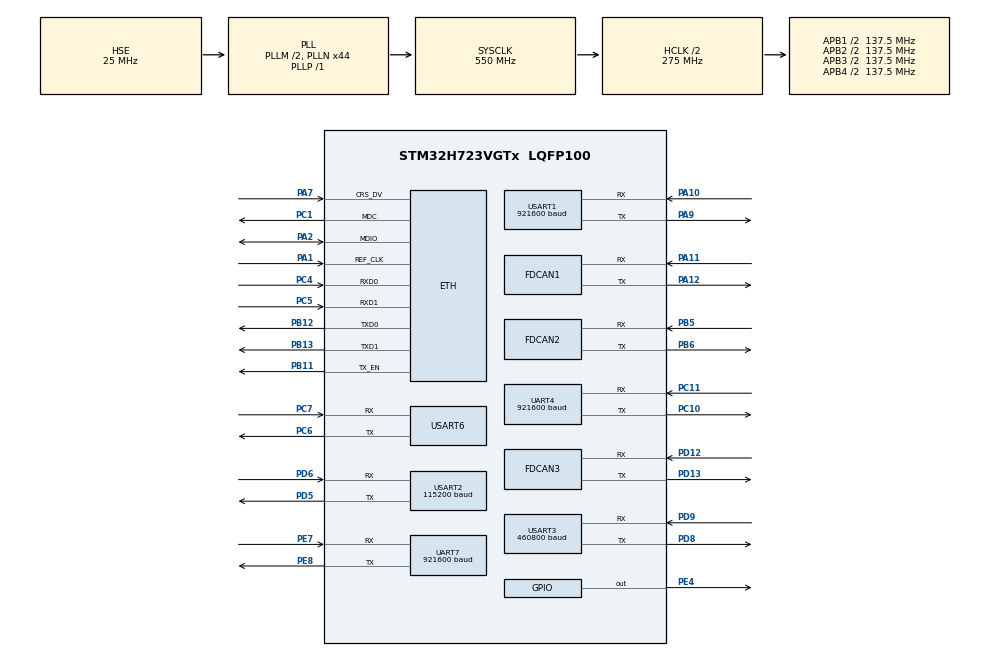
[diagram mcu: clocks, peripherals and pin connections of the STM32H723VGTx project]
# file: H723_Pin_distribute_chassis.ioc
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Dma.Request0=UART4_RX
Dma.Request1=UART4_TX
Dma.Request2=USART1_RX
Dma.Request3=USART1_TX
Dma.Request4=UART7_TX
Dma.Request5=USART3_RX
Dma.Request6=USART3_TX
Dma.Request7=USART2_TX
Dma.UART4_RX.0.Direction=DMA_PERIPH_TO_MEMORY
Dma.UART4_RX.0.EventEnable=DISABLE
Dma.UART4_RX.0.FIFOMode=DMA_FIFOMODE_DISABLE
Dma.UART4_RX.0.Instance=DMA1_Stream0
Dma.UART4_RX.0.MemDataAlignment=DMA_MDATAALIGN_BYTE
Dma.UART4_RX.0.MemInc=DMA_MINC_ENABLE
Dma.UART4_RX.0.Mode=DMA_NORMAL
Dma.UART4_RX.0.PeriphDataAlignment=DMA_PDATAALIGN_BYTE
Dma.UART4_RX.0.PeriphInc=DMA_PINC_DISABLE
Dma.UART4_RX.0.Polarity=HAL_DMAMUX_REQ_GEN_RISING
Dma.UART4_RX.0.Priority=DMA_PRIORITY_LOW
Dma.UART4_RX.0.RequestNumber=1
Dma.UART4_RX.0.SignalID=NONE
Dma.UART4_RX.0.SyncEnable=DISABLE
Dma.UART4_RX.0.SyncPolarity=HAL_DMAMUX_SYNC_NO_EVENT
Dma.UART4_RX.0.SyncRequestNumber=1
Dma.UART4_RX.0.SyncSignalID=NONE
Dma.UART4_TX.1.Direction=DMA_MEMORY_TO_PERIPH
Dma.UART4_TX.1.EventEnable=DISABLE
Dma.UART4_TX.1.FIFOMode=DMA_FIFOMODE_DISABLE
Dma.UART4_TX.1.Instance=DMA1_Stream1
Dma.UART4_TX.1.MemDataAlignment=DMA_MDATAALIGN_BYTE
Dma.UART4_TX.1.MemInc=DMA_MINC_ENABLE
Dma.UART4_TX.1.Mode=DMA_NORMAL
Dma.UART4_TX.1.PeriphDataAlignment=DMA_PDATAALIGN_BYTE
Dma.UART4_TX.1.PeriphInc=DMA_PINC_DISABLE
Dma.UART4_TX.1.Polarity=HAL_DMAMUX_REQ_GEN_RISING
Dma.UART4_TX.1.Priority=DMA_PRIORITY_LOW
Dma.UART4_TX.1.RequestNumber=1
Dma.UART4_TX.1.SignalID=NONE
Dma.UART4_TX.1.SyncEnable=DISABLE
Dma.UART4_TX.1.SyncPolarity=HAL_DMAMUX_SYNC_NO_EVENT
Dma.UART4_TX.1.SyncRequestNumber=1
Dma.UART4_TX.1.SyncSignalID=NONE
Dma.UART7_TX.4.Direction=DMA_MEMORY_TO_PERIPH
Dma.UART7_TX.4.EventEnable=DISABLE
Dma.UART7_TX.4.FIFOMode=DMA_FIFOMODE_DISABLE
Dma.UART7_TX.4.Instance=DMA1_Stream5
Dma.UART7_TX.4.MemDataAlignment=DMA_MDATAALIGN_BYTE
Dma.UART7_TX.4.MemInc=DMA_MINC_ENABLE
Dma.UART7_TX.4.Mode=DMA_NORMAL
Dma.UART7_TX.4.PeriphDataAlignment=DMA_PDATAALIGN_BYTE
Dma.UART7_TX.4.PeriphInc=DMA_PINC_DISABLE
Dma.UART7_TX.4.Polarity=HAL_DMAMUX_REQ_GEN_RISING
Dma.UART7_TX.4.Priority=DMA_PRIORITY_LOW
Dma.UART7_TX.4.RequestNumber=1
Dma.UART7_TX.4.SignalID=NONE
Dma.UART7_TX.4.SyncEnable=DISABLE
Dma.UART7_TX.4.SyncPolarity=HAL_DMAMUX_SYNC_NO_EVENT
Dma.UART7_TX.4.SyncRequestNumber=1
Dma.UART7_TX.4.SyncSignalID=NONE
Dma.USART1_RX.2.Direction=DMA_PERIPH_TO_MEMORY
Dma.USART1_RX.2.EventEnable=DISABLE
Dma.USART1_RX.2.FIFOMode=DMA_FIFOMODE_DISABLE
Dma.USART1_RX.2.Instance=DMA1_Stream2
Dma.USART1_RX.2.MemDataAlignment=DMA_MDATAALIGN_BYTE
Dma.USART1_RX.2.MemInc=DMA_MINC_ENABLE
Dma.USART1_RX.2.Mode=DMA_NORMAL
Dma.USART1_RX.2.PeriphDataAlignment=DMA_PDATAALIGN_BYTE
Dma.USART1_RX.2.PeriphInc=DMA_PINC_DISABLE
Dma.USART1_RX.2.Polarity=HAL_DMAMUX_REQ_GEN_RISING
Dma.USART1_RX.2.Priority=DMA_PRIORITY_LOW
Dma.USART1_RX.2.RequestNumber=1
Dma.USART1_RX.2.SignalID=NONE
Dma.USART1_RX.2.SyncEnable=DISABLE
Dma.USART1_RX.2.SyncPolarity=HAL_DMAMUX_SYNC_NO_EVENT
Dma.USART1_RX.2.SyncRequestNumber=1
Dma.USART1_RX.2.SyncSignalID=NONE
Dma.USART1_TX.3.Direction=DMA_MEMORY_TO_PERIPH
Dma.USART1_TX.3.EventEnable=DISABLE
Dma.USART1_TX.3.FIFOMode=DMA_FIFOMODE_DISABLE
Dma.USART1_TX.3.Instance=DMA1_Stream3
Dma.USART1_TX.3.MemDataAlignment=DMA_MDATAALIGN_BYTE
Dma.USART1_TX.3.MemInc=DMA_MINC_ENABLE
Dma.USART1_TX.3.Mode=DMA_NORMAL
Dma.USART1_TX.3.PeriphDataAlignment=DMA_PDATAALIGN_BYTE
Dma.USART1_TX.3.PeriphInc=DMA_PINC_DISABLE
Dma.USART1_TX.3.Polarity=HAL_DMAMUX_REQ_GEN_RISING
Dma.USART1_TX.3.Priority=DMA_PRIORITY_LOW
Dma.USART1_TX.3.RequestNumber=1
Dma.USART1_TX.3.SignalID=NONE
Dma.USART1_TX.3.SyncEnable=DISABLE
Dma.USART1_TX.3.SyncPolarity=HAL_DMAMUX_SYNC_NO_EVENT
Dma.USART1_TX.3.SyncRequestNumber=1
Dma.USART1_TX.3.SyncSignalID=NONE
Dma.USART2_TX.7.Direction=DMA_MEMORY_TO_PERIPH
Dma.USART2_TX.7.EventEnable=DISABLE
Dma.USART2_TX.7.FIFOMode=DMA_FIFOMODE_DISABLE
Dma.USART2_TX.7.Instance=DMA1_Stream7
Dma.USART2_TX.7.MemDataAlignment=DMA_MDATAALIGN_BYTE
Dma.USART2_TX.7.MemInc=DMA_MINC_ENABLE
Dma.USART2_TX.7.Mode=DMA_NORMAL
Dma.USART2_TX.7.PeriphDataAlignment=DMA_PDATAALIGN_BYTE
Dma.USART2_TX.7.PeriphInc=DMA_PINC_DISABLE
Dma.USART2_TX.7.Polarity=HAL_DMAMUX_REQ_GEN_RISING
Dma.USART2_TX.7.Priority=DMA_PRIORITY_LOW
Dma.USART2_TX.7.RequestNumber=1
Dma.USART2_TX.7.SignalID=NONE
Dma.USART2_TX.7.SyncEnable=DISABLE
Dma.USART2_TX.7.SyncPolarity=HAL_DMAMUX_SYNC_NO_EVENT
Dma.USART2_TX.7.SyncRequestNumber=1
Dma.USART2_TX.7.SyncSignalID=NONE
Dma.USART3_RX.5.Direction=DMA_PERIPH_TO_MEMORY
Dma.USART3_RX.5.EventEnable=DISABLE
Dma.USART3_RX.5.FIFOMode=DMA_FIFOMODE_DISABLE
Dma.USART3_RX.5.Instance=DMA1_Stream4
Dma.USART3_RX.5.MemDataAlignment=DMA_MDATAALIGN_BYTE
Dma.USART3_RX.5.MemInc=DMA_MINC_ENABLE
Dma.USART3_RX.5.Mode=DMA_NORMAL
Dma.USART3_RX.5.PeriphDataAlignment=DMA_PDATAALIGN_BYTE
Dma.USART3_RX.5.PeriphInc=DMA_PINC_DISABLE
Dma.USART3_RX.5.Polarity=HAL_DMAMUX_REQ_GEN_RISING
Dma.USART3_RX.5.Priority=DMA_PRIORITY_LOW
Dma.USART3_RX.5.RequestNumber=1
Dma.USART3_RX.5.SignalID=NONE
Dma.USART3_RX.5.SyncEnable=DISABLE
Dma.USART3_RX.5.SyncPolarity=HAL_DMAMUX_SYNC_NO_EVENT
Dma.USART3_RX.5.SyncRequestNumber=1
Dma.USART3_RX.5.SyncSignalID=NONE
Dma.USART3_TX.6.Direction=DMA_MEMORY_TO_PERIPH
Dma.USART3_TX.6.EventEnable=DISABLE
Dma.USART3_TX.6.FIFOMode=DMA_FIFOMODE_DISABLE
Dma.USART3_TX.6.Instance=DMA1_Stream6
Dma.USART3_TX.6.MemDataAlignment=DMA_MDATAALIGN_BYTE
Dma.USART3_TX.6.MemInc=DMA_MINC_ENABLE
Dma.USART3_TX.6.Mode=DMA_NORMAL
Dma.USART3_TX.6.PeriphDataAlignment=DMA_PDATAALIGN_BYTE
Dma.USART3_TX.6.PeriphInc=DMA_PINC_DISABLE
Dma.USART3_TX.6.Polarity=HAL_DMAMUX_REQ_GEN_RISING
Dma.USART3_TX.6.Priority=DMA_PRIORITY_LOW
Dma.USART3_TX.6.RequestNumber=1
Dma.USART3_TX.6.SignalID=NONE
Dma.USART3_TX.6.SyncEnable=DISABLE
Dma.USART3_TX.6.SyncPolarity=HAL_DMAMUX_SYNC_NO_EVENT
Dma.USART3_TX.6.SyncRequestNumber=1
Dma.USART3_TX.6.SyncSignalID=NONE
ETH.MediaInterface=HAL_ETH_RMII_MODE
FDCAN1.AutoRetransmission=ENABLE
FDCAN1.CalculateBaudRateNominal=1000000
FDCAN1.CalculateTimeBitNominal=1000
FDCAN1.CalculateTimeQuantumNominal=40.0
FDCAN1.DataPrescaler=1
FDCAN1.DataSyncJumpWidth=6
FDCAN1.DataTimeSeg1=18
FDCAN1.DataTimeSeg2=6
FDCAN1.Mode=FDCAN_MODE_NORMAL
FDCAN1.NominalPrescaler=1
FDCAN1.NominalSyncJumpWidth=6
FDCAN1.NominalTimeSeg1=18
FDCAN1.NominalTimeSeg2=6
FDCAN1.RxFifo0ElmtsNbr=4
FDCAN1.StdFiltersNbr=1
FDCAN1.TxBuffersNbr=16
FDCAN1.TxFifoQueueElmtsNbr=16
FDCAN2.AutoRetransmission=ENABLE
FDCAN2.CalculateBaudRateNominal=1000000
FDCAN2.CalculateTimeBitNominal=1000
FDCAN2.CalculateTimeQuantumNominal=40.0
FDCAN2.DataSyncJumpWidth=6
FDCAN2.DataTimeSeg1=18
FDCAN2.DataTimeSeg2=6
FDCAN2.MessageRAMOffset=800
FDCAN2.Mode=FDCAN_MODE_NORMAL
FDCAN2.NominalPrescaler=1
FDCAN2.NominalSyncJumpWidth=6
FDCAN2.NominalTimeSeg1=18
FDCAN2.NominalTimeSeg2=6
FDCAN2.RxFifo0ElmtsNbr=4
FDCAN2.StdFiltersNbr=1
FDCAN2.TxBuffersNbr=16
FDCAN2.TxFifoQueueElmtsNbr=16
FDCAN3.AutoRetransmission=ENABLE
FDCAN3.CalculateBaudRateNominal=1000000
FDCAN3.CalculateTimeBitNominal=1000
FDCAN3.CalculateTimeQuantumNominal=40.0
FDCAN3.DataSyncJumpWidth=6
FDCAN3.DataTimeSeg1=18
FDCAN3.DataTimeSeg2=6
FDCAN3.MessageRAMOffset=1600
FDCAN3.Mode=FDCAN_MODE_NORMAL
FDCAN3.NominalPrescaler=1
FDCAN3.NominalSyncJumpWidth=6
FDCAN3.NominalTimeSeg1=18
FDCAN3.NominalTimeSeg2=6
FDCAN3.RxFifo0ElmtsNbr=4
FDCAN3.StdFiltersNbr=1
FDCAN3.TxBuffersNbr=16
FDCAN3.TxFifoQueueElmtsNbr=16
FREERTOS.Queues01=Gyro_Queue,16,uint32_t,0,Dynamic,NULL,NULL
FREERTOS.Tasks01=location_task,24,512,LocationTask,Default,NULL,Dynamic,NULL,NULL;nav_task,24,4096,NavTask,Default,NULL,Dynamic,NULL,NULL;chassis_task,24,512,ChassisTask,Default,NULL,Dynamic,NULL,NULL;send_task,24,512,SendTask,Default,NULL,Dynamic,NULL,NULL;action_task,24,512,ActionTask,Default,NULL,Dynamic,NULL,NULL
FREERTOS.configTOTAL_HEAP_SIZE=65536
Mcu.Family=STM32H7
Mcu.Name=STM32H723VGTx
Mcu.Package=LQFP100
NVIC.DMA1_Stream0_IRQn=true\:5\:0\:false\:false\:true\:true\:false\:true\:true
NVIC.DMA1_Stream1_IRQn=true\:5\:0\:false\:false\:true\:true\:false\:true\:true
NVIC.DMA1_Stream2_IRQn=true\:5\:0\:false\:false\:true\:true\:false\:true\:true
NVIC.DMA1_Stream3_IRQn=true\:5\:0\:false\:false\:true\:true\:false\:true\:true
NVIC.DMA1_Stream4_IRQn=true\:5\:0\:false\:false\:true\:true\:false\:true\:true
NVIC.DMA1_Stream5_IRQn=true\:5\:0\:false\:false\:true\:true\:false\:true\:true
NVIC.DMA1_Stream6_IRQn=true\:5\:0\:false\:false\:true\:true\:false\:true\:true
NVIC.DMA1_Stream7_IRQn=true\:5\:0\:false\:false\:true\:true\:false\:true\:true
NVIC.FDCAN1_IT0_IRQn=true\:5\:0\:false\:false\:true\:true\:true\:true\:true
NVIC.FDCAN2_IT0_IRQn=true\:5\:0\:false\:false\:true\:true\:true\:true\:true
NVIC.FDCAN3_IT0_IRQn=true\:5\:0\:false\:false\:true\:true\:true\:true\:true
NVIC.PriorityGroup=NVIC_PRIORITYGROUP_4
NVIC.TIM6_DAC_IRQn=true\:15\:0\:false\:false\:true\:false\:false\:true\:true
NVIC.TimeBase=TIM6_DAC_IRQn
NVIC.TimeBaseIP=TIM6
NVIC.UART4_IRQn=true\:5\:0\:false\:false\:true\:true\:true\:true\:true
NVIC.UART7_IRQn=true\:5\:0\:false\:false\:true\:true\:true\:true\:true
NVIC.USART1_IRQn=true\:5\:0\:false\:false\:true\:true\:true\:true\:true
NVIC.USART2_IRQn=true\:5\:0\:false\:false\:true\:true\:true\:true\:true
NVIC.USART3_IRQn=true\:5\:0\:false\:false\:true\:true\:true\:true\:true
NVIC.USART6_IRQn=true\:5\:0\:false\:false\:true\:true\:true\:true\:true
PA1.Mode=RMII
PA1.Signal=ETH_REF_CLK
PA10.Mode=Asynchronous
PA10.Signal=USART1_RX
PA11.Mode=FDCAN_Activate
PA11.Signal=FDCAN1_RX
PA12.Mode=FDCAN_Activate
PA12.Signal=FDCAN1_TX
PA13(JTMS/SWDIO).Mode=Serial_Wire
PA13(JTMS/SWDIO).Signal=DEBUG_JTMS-SWDIO
PA14(JTCK/SWCLK).Mode=Serial_Wire
PA14(JTCK/SWCLK).Signal=DEBUG_JTCK-SWCLK
PA2.Mode=RMII
PA2.Signal=ETH_MDIO
PA3.Signal=S_TIM2_CH4
PA5.Signal=S_TIM2_CH1_ETR
PA7.Mode=RMII
PA7.Signal=ETH_CRS_DV
PA9.Mode=Asynchronous
PA9.Signal=USART1_TX
PB11.Mode=RMII
PB11.Signal=ETH_TX_EN
PB12.Mode=RMII
PB12.Signal=ETH_TXD0
PB13.Mode=RMII
PB13.Signal=ETH_TXD1
PB5.Mode=FDCAN_Activate
PB5.Signal=FDCAN2_RX
PB6.Mode=FDCAN_Activate
PB6.Signal=FDCAN2_TX
PC1.Mode=RMII
PC1.Signal=ETH_MDC
PC10.Mode=Asynchronous
PC10.Signal=UART4_TX
PC11.Mode=Asynchronous
PC11.Signal=UART4_RX
PC4.Mode=RMII
PC4.Signal=ETH_RXD0
PC5.Mode=RMII
PC5.Signal=ETH_RXD1
PC6.Mode=Asynchronous
PC6.Signal=USART6_TX
PC7.Mode=Asynchronous
PC7.Signal=USART6_RX
PD12.Mode=FDCAN_Activate
PD12.Signal=FDCAN3_RX
PD13.Mode=FDCAN_Activate
PD13.Signal=FDCAN3_TX
PD5.Mode=Asynchronous
PD5.Signal=USART2_TX
PD6.Mode=Asynchronous
PD6.Signal=USART2_RX
PD8.Mode=Asynchronous
PD8.Signal=USART3_TX
PD9.Mode=Asynchronous
PD9.Signal=USART3_RX
PE11.Signal=S_TIM1_CH2
PE13.Signal=S_TIM1_CH3
PE4.Signal=GPIO_Output
PE7.Mode=Asynchronous
PE7.Signal=UART7_RX
PE8.Mode=Asynchronous
PE8.Signal=UART7_TX
PH0-OSC_IN.Mode=HSE-External-Oscillator
PH0-OSC_IN.Signal=RCC_OSC_IN
PH1-OSC_OUT.Mode=HSE-External-Oscillator
PH1-OSC_OUT.Signal=RCC_OSC_OUT
ProjectManager.HeapSize=0x200
ProjectManager.StackSize=0x400
ProjectManager.TargetToolchain=MDK-ARM V5.32
RCC.ADCFreq_Value=50390625
RCC.APB1Freq_Value=137500000
RCC.APB2Freq_Value=137500000
RCC.APB3Freq_Value=137500000
RCC.APB4Freq_Value=137500000
RCC.CortexFreq_Value=550000000
RCC.D1PPRE=RCC_APB3_DIV2
RCC.D2PPRE1=RCC_APB1_DIV2
RCC.D2PPRE2=RCC_APB2_DIV2
RCC.D3PPRE=RCC_APB4_DIV2
RCC.DIVM1=2
RCC.DIVN1=44
RCC.DIVP1=1
RCC.DIVQ1=4
RCC.FDCANCLockSelection=RCC_FDCANCLKSOURCE_HSE
RCC.HCLKFreq_Value=275000000
RCC.HPRE=RCC_HCLK_DIV2
RCC.PLL2FRACN=0
RCC.PLL3FRACN=0
RCC.PLLFRACN=0
RCC.PLLSourceVirtual=RCC_PLLSOURCE_HSE
RCC.SYSCLKFreq_VALUE=550000000
RCC.SYSCLKSource=RCC_SYSCLKSOURCE_PLLCLK
RCC.USBFreq_Value=137500000
SH.S_TIM1_CH2.0=TIM1_CH2
SH.S_TIM1_CH3.0=TIM1_CH3
SH.S_TIM2_CH1_ETR.0=TIM2_CH1
SH.S_TIM2_CH4.0=TIM2_CH4
UART4.BaudRate=921600
UART7.BaudRate=921600
USART1.BaudRate=921600
USART1.VirtualMode-Asynchronous=VM_ASYNC
USART2.BaudRate=115200
USART2.VirtualMode-Asynchronous=VM_ASYNC
USART3.BaudRate=460800
USART3.VirtualMode-Asynchronous=VM_ASYNC
USART6.VirtualMode=VM_ASYNC
VP_FREERTOS_VS_CMSIS_V2.Mode=CMSIS_V2
VP_MEMORYMAP_VS_MEMORYMAP.Mode=CurAppReg
VP_SYS_VS_tim6.Mode=TIM6
board=custom

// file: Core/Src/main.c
/* USER CODE BEGIN Header */
/**
  ******************************************************************************
  * @file           : main.c
  * @brief          : Main program body
  ******************************************************************************
  * @attention
  *
  * Copyright (c) 2026 STMicroelectronics.
  * All rights reserved.
  *
  * This software is licensed under terms that can be found in the LICENSE file
  * in the root directory of this software component.
  * If no LICENSE file comes with this software, it is provided AS-IS.
  *
  ******************************************************************************
  */
/* USER CODE END Header */
#include "main.h"
#include "cmsis_os.h"
#include "dma.h"
#include "eth.h"
#include "fdcan.h"
#include "usart.h"
#include "gpio.h"

void SystemClock_Config(void);
void MX_FREERTOS_Init(void);

int main(void)
{

  /* MCU Configuration--------------------------------------------------------*/

  /* Reset of all peripherals, Initializes the Flash interface and the Systick. */
  HAL_Init();

  /* Configure the system clock */
  SystemClock_Config();

  /* Initialize all configured peripherals */
  MX_GPIO_Init();
  MX_DMA_Init();
  MX_ETH_Init();
  MX_FDCAN1_Init();
  MX_FDCAN2_Init();
  MX_FDCAN3_Init();
  MX_UART4_Init();
  MX_USART1_UART_Init();
  MX_USART2_UART_Init();
  MX_USART3_UART_Init();
  MX_USART6_UART_Init();
  MX_UART7_Init();
  /* USER CODE BEGIN 2 */
  HAL_Delay(600);
  BSP_Init();
  /* USER CODE END 2 */

  /* Init scheduler */
  osKernelInitialize();  /* Call init function for freertos objects (in cmsis_os2.c) */
  MX_FREERTOS_Init();

  /* Start scheduler */
  osKernelStart();

  /* We should never get here as control is now taken by the scheduler */

  /* Infinite loop */
  while (1)
  {

  }
}

void SystemClock_Config(void)
{
  RCC_OscInitTypeDef RCC_OscInitStruct = {0};
  RCC_ClkInitTypeDef RCC_ClkInitStruct = {0};

  /** Supply configuration update enable
  */
  HAL_PWREx_ConfigSupply(PWR_LDO_SUPPLY);

  /** Configure the main internal regulator output voltage
  */
  __HAL_PWR_VOLTAGESCALING_CONFIG(PWR_REGULATOR_VOLTAGE_SCALE0);

  while(!__HAL_PWR_GET_FLAG(PWR_FLAG_VOSRDY)) {}

  /** Initializes the RCC Oscillators according to the specified parameters
  * in the RCC_OscInitTypeDef structure.
  */
  RCC_OscInitStruct.OscillatorType = RCC_OSCILLATORTYPE_HSE;
  RCC_OscInitStruct.HSEState = RCC_HSE_ON;
  RCC_OscInitStruct.PLL.PLLState = RCC_PLL_ON;
  RCC_OscInitStruct.PLL.PLLSource = RCC_PLLSOURCE_HSE;
  RCC_OscInitStruct.PLL.PLLM = 2;
  RCC_OscInitStruct.PLL.PLLN = 44;
  RCC_OscInitStruct.PLL.PLLP = 1;
  RCC_OscInitStruct.PLL.PLLQ = 4;
  RCC_OscInitStruct.PLL.PLLR = 2;
  RCC_OscInitStruct.PLL.PLLRGE = RCC_PLL1VCIRANGE_3;
  RCC_OscInitStruct.PLL.PLLVCOSEL = RCC_PLL1VCOWIDE;
  RCC_OscInitStruct.PLL.PLLFRACN = 0;
  if (HAL_RCC_OscConfig(&RCC_OscInitStruct) != HAL_OK)
  {
    Error_Handler();
  }

  /** Initializes the CPU, AHB and APB buses clocks
  */
  RCC_ClkInitStruct.ClockType = RCC_CLOCKTYPE_HCLK|RCC_CLOCKTYPE_SYSCLK
                              |RCC_CLOCKTYPE_PCLK1|RCC_CLOCKTYPE_PCLK2
                              |RCC_CLOCKTYPE_D3PCLK1|RCC_CLOCKTYPE_D1PCLK1;
  RCC_ClkInitStruct.SYSCLKSource = RCC_SYSCLKSOURCE_PLLCLK;
  RCC_ClkInitStruct.SYSCLKDivider = RCC_SYSCLK_DIV1;
  RCC_ClkInitStruct.AHBCLKDivider = RCC_HCLK_DIV2;
  RCC_ClkInitStruct.APB3CLKDivider = RCC_APB3_DIV2;
  RCC_ClkInitStruct.APB1CLKDivider = RCC_APB1_DIV2;
  RCC_ClkInitStruct.APB2CLKDivider = RCC_APB2_DIV2;
  RCC_ClkInitStruct.APB4CLKDivider = RCC_APB4_DIV2;

  if (HAL_RCC_ClockConfig(&RCC_ClkInitStruct, FLASH_LATENCY_3) != HAL_OK)
  {
    Error_Handler();
  }
}

void HAL_TIM_PeriodElapsedCallback(TIM_HandleTypeDef *htim)
{
  /* USER CODE BEGIN Callback 0 */
  if(htim->Instance == TIM6){
    if(HAL_GetTick() % 1000 == 0){
      System_Monitor(&sys_mnt);
    }
  }
  /* USER CODE END Callback 0 */
  if (htim->Instance == TIM6)
  {
    HAL_IncTick();
  }
}

void Error_Handler(void)
{
  __disable_irq();
  while (1)
  {
  }
}

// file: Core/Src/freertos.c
/* USER CODE BEGIN Header */
/**
  ******************************************************************************
  * File Name          : freertos.c
  * Description        : Code for freertos applications
  ******************************************************************************
  * @attention
  *
  * Copyright (c) 2026 STMicroelectronics.
  * All rights reserved.
  *
  * This software is licensed under terms that can be found in the LICENSE file
  * in the root directory of this software component.
  * If no LICENSE file comes with this software, it is provided AS-IS.
  *
  ******************************************************************************
  */
/* USER CODE END Header */

#include "FreeRTOS.h"
#include "task.h"
#include "main.h"
#include "cmsis_os.h"

/* Definitions for location_task */
osThreadId_t location_taskHandle;
const osThreadAttr_t location_task_attributes = {
  .name = "location_task",
  .stack_size = 512 * 4,
  .priority = (osPriority_t) osPriorityNormal,
};
/* Definitions for nav_task */
osThreadId_t nav_taskHandle;
const osThreadAttr_t nav_task_attributes = {
  .name = "nav_task",
  .stack_size = 4096 * 4,
  .priority = (osPriority_t) osPriorityNormal,
};
/* Definitions for chassis_task */
osThreadId_t chassis_taskHandle;
const osThreadAttr_t chassis_task_attributes = {
  .name = "chassis_task",
  .stack_size = 512 * 4,
  .priority = (osPriority_t) osPriorityNormal,
};
/* Definitions for send_task */
osThreadId_t send_taskHandle;
const osThreadAttr_t send_task_attributes = {
  .name = "send_task",
  .stack_size = 512 * 4,
  .priority = (osPriority_t) osPriorityNormal,
};
/* Definitions for action_task */
osThreadId_t action_taskHandle;
const osThreadAttr_t action_task_attributes = {
  .name = "action_task",
  .stack_size = 512 * 4,
  .priority = (osPriority_t) osPriorityNormal,
};
/* Definitions for Gyro_Queue */
osMessageQueueId_t Gyro_QueueHandle;
const osMessageQueueAttr_t Gyro_Queue_attributes = {
  .name = "Gyro_Queue"
};

void LocationTask(void *argument);
void NavTask(void *argument);
void ChassisTask(void *argument);
void SendTask(void *argument);
void ActionTask(void *argument);

void MX_FREERTOS_Init(void); /* (MISRA C 2004 rule 8.1) */

void MX_FREERTOS_Init(void) {

  /* Create the queue(s) */
  /* creation of Gyro_Queue */
  Gyro_QueueHandle = osMessageQueueNew (16, sizeof(uint32_t), &Gyro_Queue_attributes);

  /* Create the thread(s) */
  /* creation of location_task */
  location_taskHandle = osThreadNew(LocationTask, NULL, &location_task_attributes);

  /* creation of nav_task */
  nav_taskHandle = osThreadNew(NavTask, NULL, &nav_task_attributes);

  /* creation of chassis_task */
  chassis_taskHandle = osThreadNew(ChassisTask, NULL, &chassis_task_attributes);

  /* creation of send_task */
  send_taskHandle = osThreadNew(SendTask, NULL, &send_task_attributes);

  /* creation of action_task */
  action_taskHandle = osThreadNew(ActionTask, NULL, &action_task_attributes);

}

void LocationTask(void *argument)
{
  /* USER CODE BEGIN LocationTask */
  /* Infinite loop */
  for(;;)
  {
    Location_dt35_vision();
		sys_mnt.cnt.location_task++;
    osDelay(1);
  }
  /* USER CODE END LocationTask */
}

void NavTask(void *argument)
{
  /* USER CODE BEGIN NavTask */
  /* Infinite loop */
  for(;;)
  {
    Nav_Run();
		sys_mnt.cnt.navigation_task++;
    osDelay(1);
  }
  /* USER CODE END NavTask */
}

void ChassisTask(void *argument)
{
  /* USER CODE BEGIN ChassisTask */
  /* Infinite loop */
  for(;;)
  {
    Chassis_Run();
		sys_mnt.cnt.chassis_task++;
    osDelay(1);
  }
  /* USER CODE END ChassisTask */
}

void SendTask(void *argument)
{
  /* USER CODE BEGIN SendTask */
  /* Infinite loop */
  for(;;)
  {
    if(V6_SendData(&hfdcan1,0x200, Chassis.wheels.rightup.driver_output, Chassis.wheels.rightdown.driver_output, Chassis.wheels.rightup.steer_output, Chassis.wheels.rightdown.steer_output) == HAL_OK){
      sys_mnt.cnt.can1_v6_tx++;
    }
    if(V6_SendData(&hfdcan2,0x200, Chassis.wheels.leftup.driver_output, Chassis.wheels.leftdown.driver_output, Chassis.wheels.leftup.steer_output, Chassis.wheels.leftdown.steer_output) == HAL_OK){
      sys_mnt.cnt.can2_v6_tx++;
    }
		sys_mnt.cnt.send_task++;
    osDelay(1);
  }
  /* USER CODE END SendTask */
}

void ActionTask(void *argument)
{
  /* USER CODE BEGIN ActionTask */
	uint16_t trt_cnt = 0;
  /* Infinite loop */
  for(;;)
  {
    Send_to_Upper();
		Send_to_Vofa();
		if(Vision_Data.num == To_Vision.num)
			To_Vision.num++;
		if(HAL_UART_Transmit_DMA(&huart1, (uint8_t *)&To_Vision, sizeof(TO_VISION)) == HAL_OK){
			sys_mnt.cnt.vision_tx ++;
		};

		trt_cnt++;
		if(trt_cnt >= 250){

			TRT_data.data[0] = data_from_upper.QR_byte;
			TRT_data.data[1] = data_from_upper.QR_byte;
			TRT_data.data[2] = data_from_upper.QR_byte;
			HAL_UART_Transmit_DMA (&huart2, (uint8_t *)&TRT_data, sizeof(TRT_DATA));
			sys_mnt.cnt.trt_tx++;
			trt_cnt = 0;
		}

		sys_mnt.cnt.action_task++;
		Process_from_upper();
    osDelay(1);
  }
  /* USER CODE END ActionTask */
}
